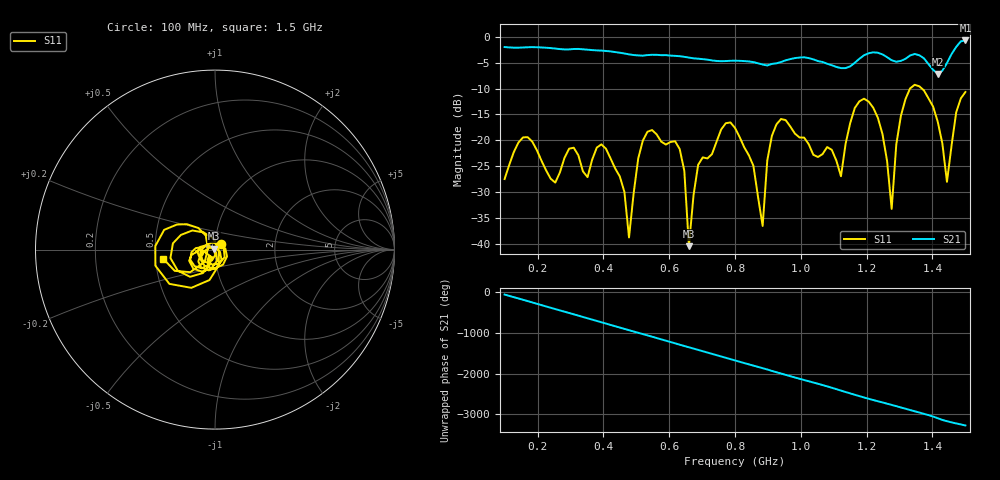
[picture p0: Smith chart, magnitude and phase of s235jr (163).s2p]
! NanoVNA-App
! Date: 2025-09-25 15:05:26
! Start: 100MHz Stop: 1,5GHz Points: 101
! S-Parameter data: F S11 S21 S12 S22
# Hz S RI R 50
!  Frequency  S11_Real  S11_Imag  S21_Real  S21_Imag  S12_Real  S12_Imag  S22_Real  S22_Imag
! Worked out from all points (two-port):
!   101 points, 100 MHz to 1.5 GHz, reference 50 ohm
!   highest |S21| = -0.69 dB at 1.5 GHz (marker M1); lowest = -7.2 dB at 1.416 GHz (marker M2)
!   |S21| within 3 dB of the highest: start of sweep to 622.9 MHz; 1.189 GHz to 1.256 GHz (66.69 MHz wide, 5.45 % of centre) (the widest 2 of 4)
!   lowest |S11| = -40.5 dB at 660 MHz (marker M3), VSWR 1.02, Z = 49.2 + j0.567 ohm
!   |S11| at or under -10 dB: start of sweep to 1.332 GHz; 1.368 GHz to end of sweep
!   S12 and S22 are empty: the file has one direction only
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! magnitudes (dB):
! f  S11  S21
! 100 MHz  -27.5  -2.0
! 156 MHz  -19.4  -2.0
! 338 MHz  -26.0  -2.4
! 408 MHz  -21.6  -2.7
! 478 MHz  -38.8  -3.4
! 520 MHz  -20.1  -3.6
! 576 MHz  -20.3  -3.5
! 632 MHz  -21.7  -3.7
! 660 MHz  -40.5  -4.0
! 688 MHz  -24.7  -4.2
! 800 MHz  -17.6  -4.6
! 884 MHz  -36.6  -5.3
! 926 MHz  -16.9  -5.1
! 1.038 GHz  -22.8  -4.3
! 1.122 GHz  -26.9  -6.0
! 1.206 GHz  -12.5  -3.2
! 1.276 GHz  -33.3  -4.5
! 1.29 GHz  -20.8  -4.8
! 1.332 GHz  -10.0  -3.6
! 1.416 GHz  -16.4  -7.2
! 1.444 GHz  -28.0  -5.1
! 1.5 GHz  -10.7  -0.7
